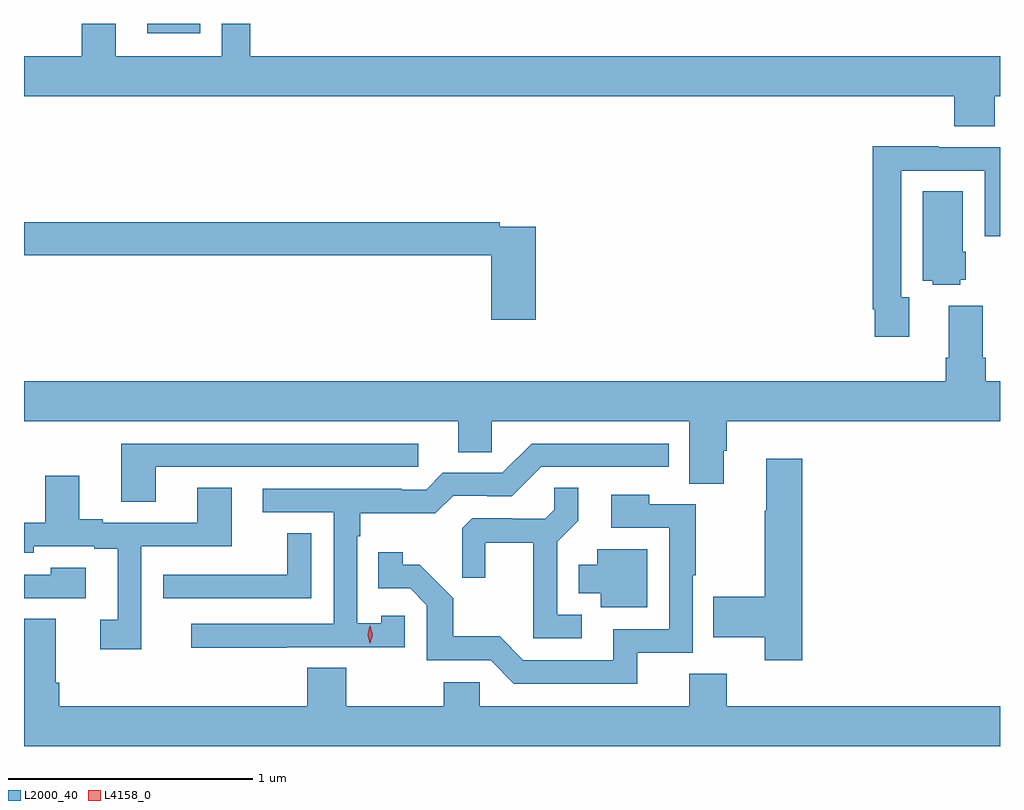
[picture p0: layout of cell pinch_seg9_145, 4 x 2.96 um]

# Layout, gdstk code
import gdstk
lib = gdstk.Library(unit=1e-6, precision=1e-09)
def R(c, l, rs):  # rectangles x0, y0, x1, y1
    for r in rs: c.add(gdstk.rectangle(r[:2], r[2:], *l))
def P(c, l, *ps):  # polygons
    for p in ps: c.add(gdstk.Polygon(p, *l))
L2000_40 = (2000, 40)
L4158_0 = (4158, 0)

pinch_seg9_145 = lib.new_cell('pinch_seg9_145')
R(pinch_seg9_145, L2000_40, [(671.193,1240.634,671.41,1240.672)])
P(pinch_seg9_145, L2000_40, [(674.666,1240.376),(674.688,1240.376),(674.688,1240.54),(671.615,1240.54),(671.615,1240.672),(671.499,1240.672),(671.499,1240.54),(671.065,1240.54),(671.065,1240.672),(670.925,1240.672),(670.925,1240.54),(670.688,1240.54),(670.688,1240.376),(674.501,1240.376),(674.501,1240.252),(674.666,1240.252)],
  [(674.317,1239.551),(674.283,1239.551),(674.283,1240.071),(674.625,1240.071),(674.625,1239.801),(674.688,1239.801),(674.688,1240.167),(674.437,1240.167),(674.437,1240.171),(674.167,1240.171),(674.167,1239.502),(674.175,1239.502),(674.175,1239.39),(674.317,1239.39)],
  [(674.526,1239.624),(674.548,1239.624),(674.548,1239.738),(674.536,1239.738),(674.536,1239.986),(674.372,1239.986),(674.372,1239.62),(674.412,1239.62),(674.412,1239.602),(674.526,1239.602)],
  [(672.785,1239.84),(672.638,1239.84),(672.638,1239.86),(670.688,1239.86),(670.688,1239.724),(672.602,1239.724),(672.602,1239.459),(672.785,1239.459)],
  [(673.555,1238.922),(673.568,1238.922),(673.568,1239.044),(674.688,1239.044),(674.688,1239.208),(674.63,1239.208),(674.63,1239.304),(674.617,1239.304),(674.617,1239.517),(674.477,1239.517),(674.477,1239.304),(674.465,1239.304),(674.465,1239.208),(670.688,1239.208),(670.688,1239.044),(672.467,1239.044),(672.467,1238.917),(672.606,1238.917),(672.606,1239.044),(673.415,1239.044),(673.415,1238.788),(673.555,1238.788)],
  [(671.765,1238.118),(672.249,1238.118),(672.249,1238.247),(672.153,1238.247),(672.153,1238.215),(672.054,1238.215),(672.054,1238.573),(672.067,1238.573),(672.067,1238.666),(672.374,1238.666),(672.447,1238.739),(672.586,1238.739),(672.586,1238.736),(672.687,1238.736),(672.807,1238.856),(673.33,1238.856),(673.33,1238.952),(672.768,1238.952),(672.648,1238.832),(672.405,1238.832),(672.336,1238.763),(672.236,1238.763),(672.236,1238.766),(671.667,1238.766),(671.667,1238.67),(671.958,1238.67),(671.958,1238.214),(671.373,1238.214),(671.373,1238.116),(671.765,1238.116)],
  [(671.227,1238.856),(672.304,1238.856),(672.304,1238.952),(671.087,1238.952),(671.087,1238.713),(671.227,1238.713)],
  [(673.877,1238.89),(673.73,1238.89),(673.73,1238.677),(673.723,1238.677),(673.723,1238.325),(673.513,1238.325),(673.513,1238.159),(673.723,1238.159),(673.723,1238.064),(673.877,1238.064)],
  [(671.169,1238.532),(671.539,1238.532),(671.539,1238.771),(671.399,1238.771),(671.399,1238.628),(671.011,1238.628),(671.011,1238.641),(670.915,1238.641),(670.915,1238.821),(670.775,1238.821),(670.775,1238.628),(670.688,1238.628),(670.688,1238.505),(670.728,1238.505),(670.728,1238.532),(670.976,1238.532),(670.976,1238.52),(671.072,1238.52),(671.072,1238.229),(671.001,1238.229),(671.001,1238.109),(671.169,1238.109)],
  [(672.973,1238.25),(672.873,1238.25),(672.873,1238.549),(672.959,1238.635),(672.959,1238.771),(672.861,1238.771),(672.861,1238.68),(672.824,1238.643),(672.69,1238.643),(672.69,1238.646),(672.525,1238.646),(672.484,1238.605),(672.484,1238.403),(672.578,1238.403),(672.578,1238.546),(672.776,1238.546),(672.776,1238.154),(672.973,1238.154)],
  [(673.202,1238.094),(673.428,1238.094),(673.428,1238.413),(673.441,1238.413),(673.441,1238.703),(673.251,1238.703),(673.251,1238.743),(673.095,1238.743),(673.095,1238.607),(673.332,1238.607),(673.332,1238.19),(673.103,1238.19),(673.103,1238.064),(672.735,1238.064),(672.637,1238.163),(672.448,1238.163),(672.448,1238.318),(672.31,1238.456),(672.24,1238.456),(672.24,1238.506),(672.139,1238.506),(672.139,1238.358),(672.27,1238.358),(672.339,1238.289),(672.339,1238.064),(672.6,1238.064),(672.696,1237.968),(673.202,1237.968)],
  [(671.865,1238.585),(671.767,1238.585),(671.767,1238.415),(671.371,1238.415),(671.371,1238.414),(671.259,1238.414),(671.259,1238.319),(671.865,1238.319)],
  [(673.243,1238.518),(673.037,1238.518),(673.037,1238.455),(672.962,1238.455),(672.962,1238.339),(673.052,1238.339),(673.052,1238.282),(673.243,1238.282)],
  [(670.942,1238.443),(670.797,1238.443),(670.797,1238.415),(670.688,1238.415),(670.688,1238.319),(670.942,1238.319)],
  [(674.688,1237.876),(673.568,1237.876),(673.568,1238.009),(673.415,1238.009),(673.415,1237.876),(672.555,1237.876),(672.555,1237.974),(672.409,1237.974),(672.409,1237.876),(672.009,1237.876),(672.009,1238.033),(671.849,1238.033),(671.849,1237.876),(670.832,1237.876),(670.832,1237.972),(670.819,1237.972),(670.819,1238.233),(670.688,1238.233),(670.688,1237.712),(674.688,1237.712)])
P(pinch_seg9_145, L4158_0, [(672.106,1238.133),(672.097,1238.169),(672.106,1238.205),(672.107,1238.205),(672.107,1238.205),(672.117,1238.169),(672.107,1238.133),(672.107,1238.133)])

lib.write_gds('pinch_seg9_145.gds')
